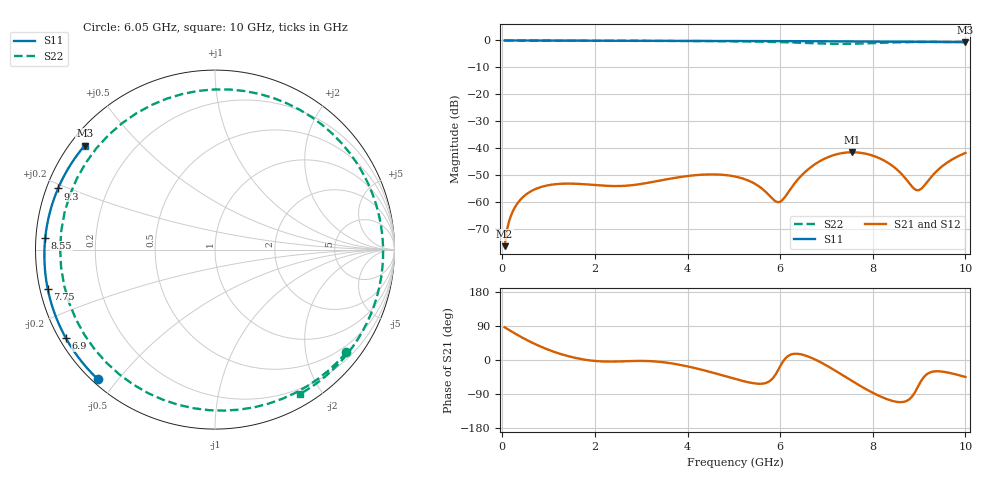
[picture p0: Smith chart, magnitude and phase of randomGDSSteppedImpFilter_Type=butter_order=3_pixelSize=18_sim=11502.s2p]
! freq	dB(S11)	phase(S11)	dB(S12)	phase(S12)
!  dB(S21)	phase(S21)	dB(S22)	phase(S22)
!S-par simulation data
#  GHz  S  DB  R 50
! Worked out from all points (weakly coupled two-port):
!   200 points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, 50 MHz to 10 GHz, reference 50 ohm
!   highest |S21| = -41.49 dB at 7.55 GHz (marker M1); lowest = -76.3 dB at 50 MHz (marker M2)
!   lowest |S11| = -0.6 dB at 10 GHz (marker M3), VSWR 27.24, Z = 2.06 + j17.5 ohm
!   |S11| at or under -10 dB: nowhere
!   |S22| runs from -1.3 to 0.0 dB; largest |S21 - S12| = 0
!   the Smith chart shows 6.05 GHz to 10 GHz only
!   S11 on the Smith chart (normalised r, x): 6.05 GHz: 0.02, -0.44; 6.9 GHz: 0.02, -0.28; 7.75 GHz: 0.02, -0.12; 8.55 GHz: 0.03, +0.04; 9.3 GHz: 0.03, +0.19; 10 GHz: 0.04, +0.35
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0.05  -0.00 -1.2  -76.35 86.3  -76.35 86.3  -0.00 -6.3
0.25  -0.01 -6.0  -62.62 71.7  -62.62 71.7  -0.05 -30.8
0.75  -0.02 -17.9  -54.90 39.6  -54.90 39.6  -0.10 -84.8
1.25  -0.04 -29.6  -53.21 16.2  -53.21 16.2  -0.11 -126.2
1.75  -0.05 -41.2  -53.34 1.4  -53.34 1.4  -0.12 -158.2
2.5  -0.07 -58.2  -54.04 -3.9  -54.04 -3.9  -0.14 162.9
3.4  -0.10 -77.8  -52.01 -4.9  -52.01 -4.9  -0.17 120.8
4.25  -0.14 -95.7  -49.89 -24.0  -49.89 -24.0  -0.23 79.4
5.05  -0.17 -112.1  -50.58 -50.7  -50.58 -50.7  -0.33 34.5
5.6  -0.20 -123.1  -54.89 -62.6  -54.89 -62.6  -0.46 -2.2
6.05  -0.23 -132.1  -59.21 -6.1  -59.21 -6.1  -0.64 -38.0
6.7  -0.28 -145.2  -46.55 4.4  -46.55 4.4  -1.03 -103.4
6.9  -0.30 -149.2  -44.40 -7.7  -44.40 -7.7  -1.15 -127.5
7.25  -0.33 -156.4  -42.11 -32.6  -42.11 -32.6  -1.28 -173.5
7.55  -0.36 -162.6  -41.49 -55.2  -41.49 -55.2  -1.24 146.0
7.75  -0.38 -166.8  -41.73 -69.8  -41.73 -69.8  -1.14 120.1
8.05  -0.41 -173.1  -43.05 -89.6  -43.05 -89.6  -0.96 84.6
8.35  -0.44 -179.6  -45.64 -105.2  -45.64 -105.2  -0.78 53.8
8.55  -0.46 176.0  -48.34 -110.9  -48.34 -110.9  -0.69 35.7
8.95  -0.51 166.9  -55.60 -76.5  -55.60 -76.5  -0.58 4.3
9.3  -0.55 158.7  -49.92 -30.6  -49.92 -30.6  -0.54 -19.2
10  -0.64 141.4  -41.75 -44.7  -41.75 -44.7  -0.60 -59.6
